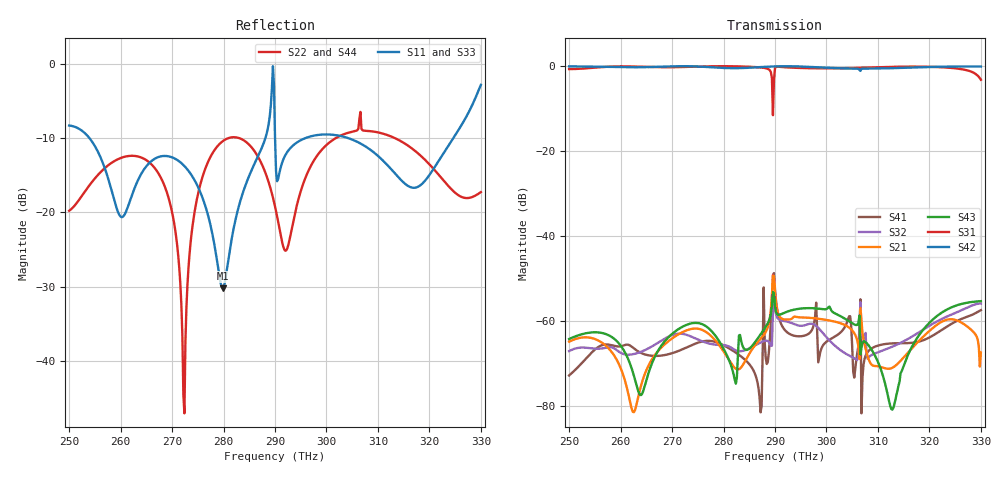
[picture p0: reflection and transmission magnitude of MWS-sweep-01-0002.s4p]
! TOUCHSTONE file generated by CST MICROWAVE STUDIO
! Date and time: Sun Sep 21 00:06:31 2025
! Project name: biblioteca3.cst
! Parameters = {t_sub=1500; t_air=800; k=0; n=0; wavelength_nm=0; H=600; Lx=200; Ly=260; P=520}
! Header version: 2018
! Port assignment regex: !\s*Touchstone port\s*([0-9]+)\s*=\s*(CST MWS port|CST DS port)\s*([0-9]+|Zmin|Zmax)\s*\(\"(.*)\"\)(\s*mode\s*([0-9]+))?.*
! Touchstone port assignment:
! Touchstone port 1 = CST MWS port Zmin ("") mode 1
! Touchstone port 2 = CST MWS port Zmin ("") mode 2
! Touchstone port 3 = CST MWS port Zmax ("") mode 1
! Touchstone port 4 = CST MWS port Zmax ("") mode 2
! S-Parameters are not renormalized. Unphysical impedance of 50 will be written to the file.
# GHz S RI R 50
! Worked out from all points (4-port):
!   401 points, 250 THz to 330 THz, reference per port
!   strongest paths, dB at 250 THz, 270 THz, 290 THz, 310 THz, 330 THz:
!     S42: 0.0, 0.0, -0.1, -0.6, -0.1
!     S31: -0.7, -0.3, -0.5, -0.3, -3.2
!     S43: -64.3, -63.1, -56.6, -69.7, -55.4
!     S21: -64.9, -64.2, -53.4, -70.7, -67.5
!     S32: -67.1, -63.4, -57.0, -67.4, -55.9
!     S41: -72.9, -67.6, -52.6, -65.8, -57.5
!   lowest |S11| = -30.2 dB at 279.8 THz (marker M1), VSWR 1.06
!   |S11| at or under -10 dB: 254 THz to 288.1 THz (34.17 THz wide, 12.6 % of centre); 290 THz to 295.9 THz (5.869 THz wide, 2 % of centre); 304.2 THz to 324.6 THz (20.4 THz wide, 6.49 % of centre)
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250000  -0.3464 -0.167  0.000562 5.13e-05  0.2644 0.8844  5.4e-05 0.000217
        0.000551 0.000138  -0.0946 -0.0399  0.000357 0.000156  -0.959 0.2643
        0.2644 0.8845  0.000398 0.000187  -0.1979 0.3297  0.000329 0.000489
        -1.74e-05 0.000227  -0.959 0.2642  0.000326 0.000517  0.0608 -0.0828
265800  -0.1786 0.1264  0.000197 -0.00025  -0.8029 -0.5546  -0.000355 -0.000225
        0.000171 -0.00028  -0.0666 0.2033  -0.000462 8.19e-06  0.9763 -0.0295
        -0.8029 -0.5542  -0.000482 -7.68e-05  -0.055 0.2118  -2.94e-05 0.000311
        -0.000309 -0.000237  0.9766 -0.0294  5.43e-06 0.000283  0.0788 0.199
272400  0.0344 0.2024  -0.000517 -0.000562  -0.7083 0.6754  -0.0004 0.000272
        -0.000513 -0.000552  -0.00445 -0.000179  2.79e-05 0.000633  0.0405 -0.9992
        -0.7081 0.6752  3.69e-05 0.000694  0.2005 0.044  0.000966 4.36e-05
        -0.000393 0.000263  0.0404 -0.9992  0.000874 4.61e-05  -0.0044 -0.000114
279800  0.00308 0.0307  -7.35e-05 0.000438  0.5667 0.8233  0.000472 0.000261
        -0.000121 0.00044  -0.0954 0.2854  0.000429 -4.46e-05  -0.9223 0.2428
        0.5668 0.8231  0.000517 -2.86e-05  -0.0276 -0.0139  0.000157 -0.000513
        0.000465 0.000239  -0.9223 0.2428  0.000152 -0.000471  0.2236 0.2014
291200  -0.0159 0.2059  -0.001 0.000452  0.6374 -0.7428  -0.000402 -0.000767
        -0.000946 0.000508  0.067 0.0105  -0.000378 -0.000899  0.9817 0.1779
        0.6371 -0.7429  -0.000342 -0.000952  0.2011 -0.047  0.00115 -0.000407
        -0.000424 -0.000812  0.9816 0.1779  0.00112 -0.00044  -0.0665 -0.0137
309200  0.0796 -0.2408  0.00025 -0.000234  -0.7939 0.5525  0.000244 0.000433
        3.26e-05 -0.000293  0.2277 -0.2657  0.000139 0.000401  -0.9366 0.0182
        -0.794 0.5526  0.00019 0.000361  -0.2535 -0.00888  -0.000333 0.000135
        0.00023 0.000432  -0.937 0.0179  -0.00039 0.000135  -0.2378 -0.2568
330000  -0.4131 0.5927  2.66e-05 -0.000342  0.0516 -0.6895  -0.000921 -0.000742
        -0.000381 0.000183  -0.1215 -0.0634  -0.00176 -0.000885  0.9572 -0.255
        0.0514 -0.6894  -0.00146 -0.000657  -0.3202 -0.6476  -0.00163 -0.000619
        -0.00104 -0.000835  0.9569 -0.255  -0.00155 -0.000705  0.0738 -0.1155
